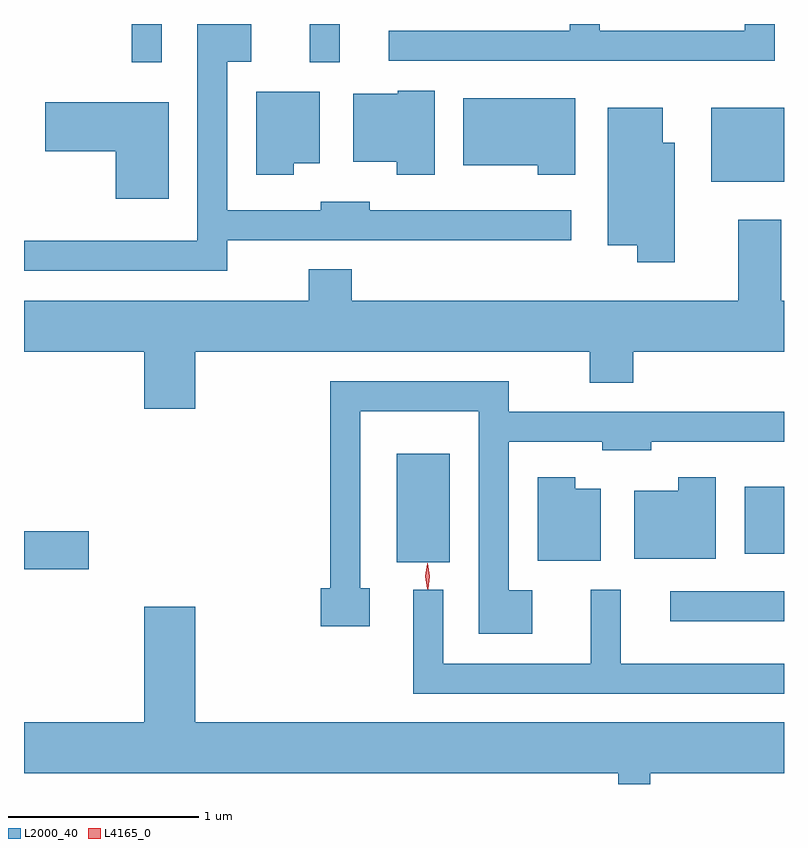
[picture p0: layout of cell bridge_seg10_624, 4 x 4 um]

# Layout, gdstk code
import gdstk
lib = gdstk.Library(unit=1e-6, precision=1e-09)
def R(c, l, rs):  # rectangles x0, y0, x1, y1
    for r in rs: c.add(gdstk.rectangle(r[:2], r[2:], *l))
def P(c, l, *ps):  # polygons
    for p in ps: c.add(gdstk.Polygon(p, *l))
L2000_40 = (2000, 40)
L4165_0 = (4165, 0)

bridge_seg10_624 = lib.new_cell('bridge_seg10_624')
R(bridge_seg10_624, L2000_40, [(757.303,2092.516,757.903,2092.674), (753.903,2092.791,754.244,2092.989), (755.866,2092.826,756.144,2093.399), (757.696,2092.871,757.903,2093.224), (757.521,2094.831,757.903,2095.219), (754.471,2095.458,754.629,2095.66), (755.406,2095.458,755.564,2095.66)])
P(bridge_seg10_624, L2000_40, [(754.974,2094.521),(756.783,2094.521),(756.783,2094.679),(755.724,2094.679),(755.724,2094.724),(755.466,2094.724),(755.466,2094.679),(754.974,2094.679),(754.974,2095.461),(755.099,2095.461),(755.099,2095.66),(754.816,2095.66),(754.816,2094.519),(753.903,2094.519),(753.903,2094.361),(754.974,2094.361)],
  [(757.854,2095.66),(757.696,2095.66),(757.696,2095.624),(756.934,2095.624),(756.934,2095.66),(756.776,2095.66),(756.776,2095.624),(755.823,2095.624),(755.823,2095.466),(757.854,2095.466)],
  [(756.064,2095.309),(755.87,2095.309),(755.87,2095.294),(755.636,2095.294),(755.636,2094.936),(755.866,2094.936),(755.866,2094.866),(756.064,2094.866)],
  [(755.324,2094.926),(755.459,2094.926),(755.459,2095.304),(755.126,2095.304),(755.126,2094.866),(755.324,2094.866)],
  [(756.804,2095.269),(756.216,2095.269),(756.216,2094.916),(756.606,2094.916),(756.606,2094.866),(756.804,2094.866)],
  [(754.664,2095.249),(754.016,2095.249),(754.016,2094.991),(754.386,2094.991),(754.386,2094.741),(754.664,2094.741)],
  [(757.329,2095.034),(757.264,2095.034),(757.264,2095.219),(756.976,2095.219),(756.976,2094.496),(757.131,2094.496),(757.131,2094.406),(757.329,2094.406)],
  [(754.804,2093.936),(756.881,2093.936),(756.881,2093.771),(757.109,2093.771),(757.109,2093.936),(757.903,2093.936),(757.903,2094.204),(757.889,2094.204),(757.889,2094.629),(757.661,2094.629),(757.661,2094.204),(755.629,2094.204),(755.629,2094.369),(755.401,2094.369),(755.401,2094.204),(753.903,2094.204),(753.903,2093.936),(754.536,2093.936),(754.536,2093.636),(754.804,2093.636)],
  [(756.579,2092.679),(756.454,2092.679),(756.454,2093.461),(756.946,2093.461),(756.946,2093.416),(757.204,2093.416),(757.204,2093.461),(757.903,2093.461),(757.903,2093.619),(756.454,2093.619),(756.454,2093.779),(755.516,2093.779),(755.516,2092.689),(755.466,2092.689),(755.466,2092.491),(755.724,2092.491),(755.724,2092.689),(755.674,2092.689),(755.674,2093.621),(756.296,2093.621),(756.296,2092.451),(756.579,2092.451)],
  [(756.939,2093.214),(756.804,2093.214),(756.804,2093.274),(756.606,2093.274),(756.606,2092.836),(756.939,2092.836)],
  [(757.544,2093.274),(757.346,2093.274),(757.346,2093.204),(757.116,2093.204),(757.116,2092.846),(757.544,2092.846)],
  [(757.903,2092.294),(757.044,2092.294),(757.044,2092.683),(756.886,2092.683),(756.886,2092.294),(756.109,2092.294),(756.109,2092.683),(755.951,2092.683),(755.951,2092.136),(757.903,2092.136)],
  [(757.199,2091.716),(757.903,2091.716),(757.903,2091.984),(754.804,2091.984),(754.804,2092.594),(754.536,2092.594),(754.536,2091.984),(753.903,2091.984),(753.903,2091.716),(757.031,2091.716),(757.031,2091.66),(757.199,2091.66)])
P(bridge_seg10_624, L4165_0, [(756.03,2092.684),(756.029,2092.685),(756.018,2092.753),(756.026,2092.821),(756.027,2092.822),(756.027,2092.821),(756.038,2092.753),(756.03,2092.685)],
  [(756.026,2092.688),(756.016,2092.754),(756.025,2092.819),(756.025,2092.819),(756.026,2092.819),(756.036,2092.754),(756.027,2092.688),(756.027,2092.688)])

lib.write_gds('bridge_seg10_624.gds')
